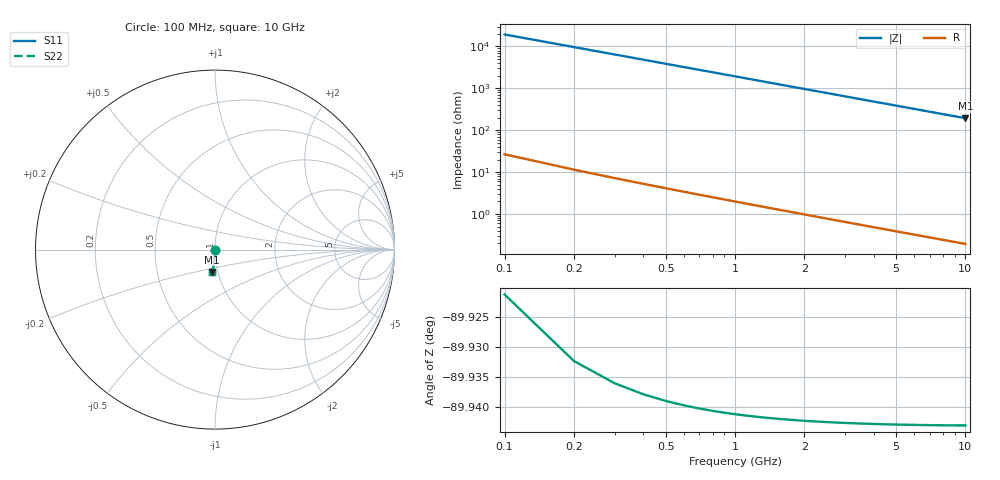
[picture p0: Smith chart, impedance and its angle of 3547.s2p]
# Hz S RI R 50.00
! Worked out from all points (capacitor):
!   100 points, 100 MHz to 10 GHz, reference 50 ohm
!   read as one part in shunt: C = 82.2 fF near 100 MHz
!   lowest |Z| = 194 ohm at 10 GHz (marker M1)
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1e8  1.21e-06 -0.00128  1 -0.00131  1 -0.00131  1.21e-06 -0.00128
2e8  -5.04e-06 -0.00255  1 -0.00261  1 -0.00261  -5.04e-06 -0.00255
3e8  -1.46e-05 -0.00383  1 -0.00392  1 -0.00392  -1.46e-05 -0.00383
4e8  -2.76e-05 -0.00511  1 -0.00523  1 -0.00523  -2.76e-05 -0.00511
5e8  -4.38e-05 -0.00638  0.9999 -0.00653  0.9999 -0.00653  -4.38e-05 -0.00638
6e8  -6.34e-05 -0.00766  0.9999 -0.00784  0.9999 -0.00784  -6.34e-05 -0.00766
7e8  -8.64e-05 -0.00893  0.9999 -0.00914  0.9999 -0.00914  -8.64e-05 -0.00893
8e8  -0.000113 -0.0102  0.9999 -0.0104  0.9999 -0.0104  -0.000113 -0.0102
9e8  -0.000142 -0.0115  0.9998 -0.0118  0.9998 -0.0118  -0.000142 -0.0115
1.1e9  -0.000211 -0.014  0.9998 -0.0144  0.9998 -0.0144  -0.000211 -0.014
1.4e9  -0.00034 -0.0179  0.9996 -0.0183  0.9996 -0.0183  -0.00034 -0.0179
1.8e9  -0.000559 -0.023  0.9994 -0.0235  0.9994 -0.0235  -0.000559 -0.023
2.1e9  -0.000757 -0.0268  0.9992 -0.0274  0.9992 -0.0274  -0.000757 -0.0268
2.5e9  -0.00107 -0.0319  0.9989 -0.0326  0.9989 -0.0326  -0.00107 -0.0319
2.9e9  -0.00143 -0.037  0.9986 -0.0378  0.9986 -0.0378  -0.00143 -0.037
3.4e9  -0.00196 -0.0433  0.998 -0.0443  0.998 -0.0443  -0.00196 -0.0433
4.2e9  -0.00298 -0.0534  0.997 -0.0547  0.997 -0.0547  -0.00298 -0.0534
5.1e9  -0.00438 -0.0648  0.9956 -0.0663  0.9956 -0.0663  -0.00438 -0.0648
5.9e9  -0.00584 -0.0748  0.9942 -0.0766  0.9942 -0.0766  -0.00584 -0.0748
6.7e9  -0.0075 -0.0848  0.9925 -0.0868  0.9925 -0.0868  -0.0075 -0.0848
8.4e9  -0.0117 -0.1058  0.9883 -0.1084  0.9883 -0.1084  -0.0117 -0.1058
1e10  -0.0165 -0.1253  0.9835 -0.1284  0.9835 -0.1284  -0.0165 -0.1253
